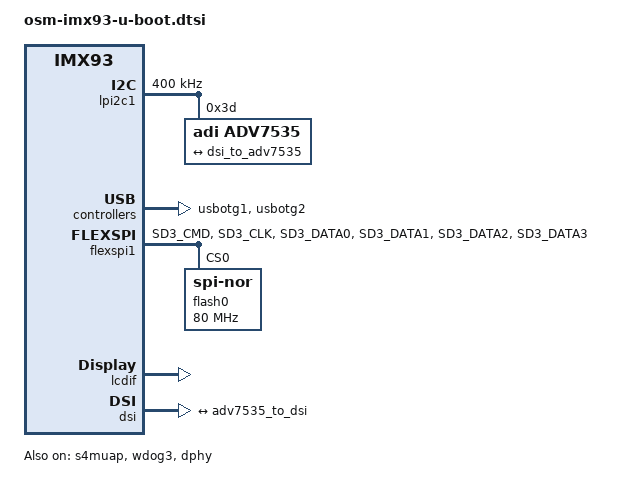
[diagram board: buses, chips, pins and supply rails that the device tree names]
// SPDX-License-Identifier: GPL-2.0+
/*
 * Copyright 2022 NXP
 */

#include "imx93-u-boot.dtsi"

/ {
	wdt-reboot {
		compatible = "wdt-reboot";
		wdt = <&wdog3>;
		bootph-pre-ram;
		bootph-some-ram;
	};

	aliases {
		usbgadget0 = &usbg1;
		usbgadget1 = &usbg2;
	};

	usbg1: usbg1 {
		compatible = "fsl,imx27-usb-gadget";
		dr_mode = "peripheral";
		chipidea,usb = <&usbotg1>;
		status = "okay";
	};

	usbg2: usbg2 {
		compatible = "fsl,imx27-usb-gadget";
		dr_mode = "peripheral";
		chipidea,usb = <&usbotg2>;
		status = "okay";
	};


	chosen {
		bootargs = "console=ttyLP0,115200";
	};

	firmware {
		optee {
			compatible = "linaro,optee-tz";
			method = "smc";
		};
	};

	dsi_host: dsi-host {
		compatible = "synopsys,dw-mipi-dsi";
		status = "okay";
	};
};

&A55_0 {
	clocks = <&clk IMX93_CLK_A55_SEL>;
};

&A55_1 {
	clocks = <&clk IMX93_CLK_A55_SEL>;
};

&{/soc@0} {
	bootph-all;
	bootph-pre-ram;
};

&aips1 {
	bootph-pre-ram;
	bootph-all;
};

&aips2 {
	bootph-pre-ram;
	bootph-some-ram;
};

&aips3 {
	bootph-pre-ram;
	bootph-some-ram;
};

&iomuxc {
	bootph-pre-ram;
	bootph-some-ram;

	pinctrl_flexspi: flexspigrp {
		fsl,pins = <
			MX93_PAD_SD3_CMD__FLEXSPI1_A_SS0_B      0x3fe
			MX93_PAD_SD3_CLK__FLEXSPI1_A_SCLK       0x3fe
			MX93_PAD_SD3_DATA0__FLEXSPI1_A_DATA00   0x3fe
			MX93_PAD_SD3_DATA1__FLEXSPI1_A_DATA01   0x3fe
			MX93_PAD_SD3_DATA2__FLEXSPI1_A_DATA02   0x3fe
			MX93_PAD_SD3_DATA3__FLEXSPI1_A_DATA03   0x3fe
		>;
	};

	pinctrl_lpi2c3_gpio: lpi2c3gpiogrp {
		fsl,pins = <
			MX93_PAD_GPIO_IO28__GPIO2_IO28			0x31e
			MX93_PAD_GPIO_IO29__GPIO2_IO29			0x31e
		>;
	};
};

&reg_usdhc2_vmmc {
	off-on-delay-us = <20000>;
	bootph-pre-ram;
};

&pinctrl_reg_usdhc2_vmmc {
	bootph-pre-ram;
};

&pinctrl_uart1 {
	bootph-pre-ram;
	bootph-some-ram;
};

&pinctrl_usdhc1 {
	bootph-pre-ram;
};

&pinctrl_usdhc2_gpio {
	bootph-pre-ram;
};

&pinctrl_usdhc2 {
	bootph-pre-ram;
};

&gpio1 {
	compatible = "fsl,imx93-gpio", "fsl,imx7ulp-gpio";
	reg = <0x47400080 0x1000>, <0x47400040 0x40>;
	bootph-pre-ram;
	bootph-some-ram;
};

&gpio2 {
	compatible = "fsl,imx93-gpio", "fsl,imx7ulp-gpio";
	reg = <0x43810080 0x1000>, <0x43810040 0x40>;
	bootph-pre-ram;
	bootph-some-ram;
};

&gpio3 {
	compatible = "fsl,imx93-gpio", "fsl,imx7ulp-gpio";
	reg = <0x43820080 0x1000>, <0x43820040 0x40>;
	bootph-pre-ram;
	bootph-some-ram;
};

&gpio4 {
	compatible = "fsl,imx93-gpio", "fsl,imx7ulp-gpio";
	reg = <0x43830080 0x1000>, <0x43830040 0x40>;
	bootph-pre-ram;
	bootph-some-ram;
};

&lpuart1 {
	bootph-pre-ram;
	bootph-some-ram;
};

&usdhc1 {
	bootph-pre-ram;
};

&usdhc2 {
	bootph-pre-ram;
	fsl,signal-voltage-switch-extra-delay-ms = <8>;
};

&lpi2c1 {
	bootph-pre-ram;
	#address-cells = <1>;
	#size-cells = <0>;
	clock-frequency = <400000>;
	pinctrl-names = "default", "sleep";
	pinctrl-0 = <&pinctrl_lpi2c1>;
	pinctrl-1 = <&pinctrl_lpi2c1>;
	status = "okay";

	adv7535: hdmi@3d {
		compatible = "adi,adv7535";
		reg = <0x3d>;
		adi,addr-cec = <0x3c>;
		adi,dsi-lanes = <4>;
		status = "okay";

		port {
			adv7535_to_dsi: endpoint {
				remote-endpoint = <&dsi_to_adv7535>;
			};
		};
	};
};

&lpi2c2 {
	bootph-pre-ram;
};

&pinctrl_lpi2c1 {
	bootph-pre-ram;
};

&pinctrl_lpi2c2 {
	bootph-pre-ram;
};

&usbotg1 {
	status = "okay";
};

&usbotg2 {
	status = "okay";
};

&s4muap {
	bootph-pre-ram;
	bootph-some-ram;
	status = "okay";
};

&clk {
	bootph-all;
	bootph-pre-ram;
	/delete-property/ assigned-clocks;
	/delete-property/ assigned-clock-rates;
	/delete-property/ assigned-clock-parents;
};

&osc_32k {
	bootph-all;
	bootph-pre-ram;
};

&osc_24m {
	bootph-all;
	bootph-pre-ram;
};

&clk_ext1 {
	bootph-all;
	bootph-pre-ram;
};

&flexspi1 {
	pinctrl-names = "default";
	pinctrl-0 = <&pinctrl_flexspi>;
	assigned-clock-rates = <80000000>;
	status = "okay";

	flash0: flash@0 {
		reg = <0>;
		#address-cells = <1>;
		#size-cells = <1>;
		compatible = "jedec,spi-nor";
		spi-max-frequency = <80000000>;
		spi-tx-bus-width = <4>;
		spi-rx-bus-width = <4>;
	};
};

&wdog3 {
	status = "okay";
};

&lcdif {
	assigned-clocks = <&clk IMX93_CLK_MEDIA_AXI>, <&clk IMX93_CLK_MEDIA_APB>;
	assigned-clock-parents = <&clk IMX93_CLK_SYS_PLL_PFD1>, <&clk IMX93_CLK_SYS_PLL_PFD1_DIV2>;
	assigned-clock-rates = <400000000>, <133333334>;
	status = "okay";
};

&dphy {
	status = "okay";
};

&dsi {
	status = "okay";

	ports {
		port@1 {
			dsi_to_adv7535: endpoint {
				remote-endpoint = <&adv7535_to_dsi>;
			};
		};
	};
};
